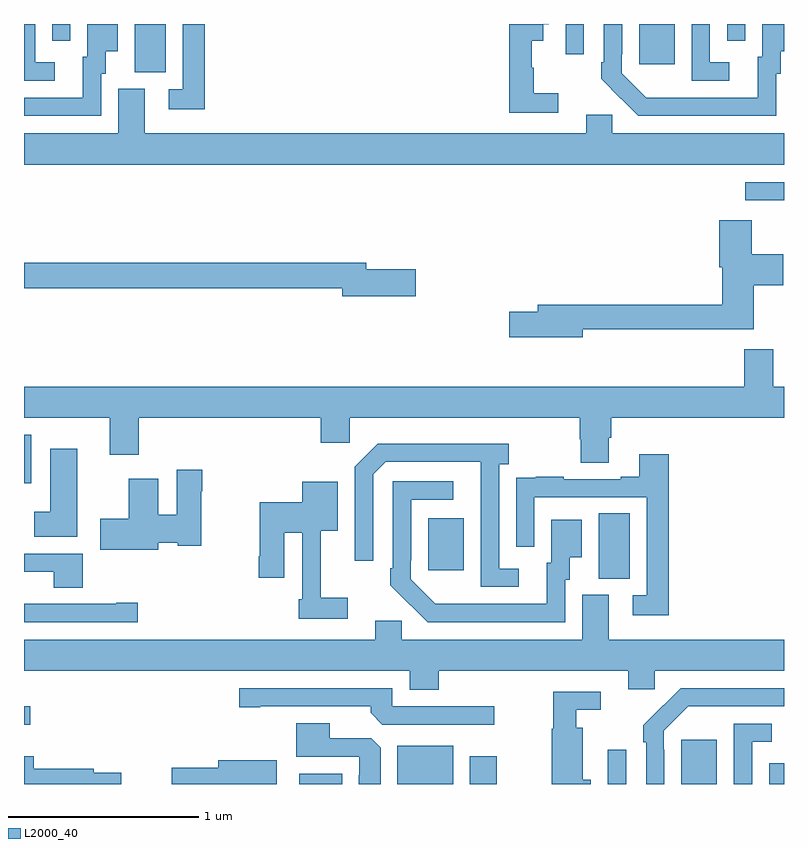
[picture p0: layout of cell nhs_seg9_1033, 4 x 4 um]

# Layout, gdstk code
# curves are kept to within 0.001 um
import gdstk
lib = gdstk.Library(unit=1e-6, precision=1e-09)
def R(c, l, rs):  # rectangles x0, y0, x1, y1
    for r in rs: c.add(gdstk.rectangle(r[:2], r[2:], *l))
def P(c, l, *ps):  # polygons
    for p in ps: c.add(gdstk.Polygon(p, *l))
L2000_40 = (2000, 40)

nhs_seg9_1033 = lib.new_cell('nhs_seg9_1033')
R(nhs_seg9_1033, L2000_40, [(168.449,1186.5,168.676,1186.555), (168.965,1186.5,169.258,1186.702), (169.346,1186.5,169.488,1186.645), (170.073,1186.5,170.169,1186.681), (170.459,1186.5,170.647,1186.732), (170.922,1186.5,171,1186.609), (167,1186.812,167.032,1186.908), (170.024,1187.581,170.188,1187.924), (169.127,1187.625,169.315,1187.899), (167,1188.083,167.038,1188.337), (170.796,1189.572,171,1189.668), (167.582,1190.245,167.746,1190.5), (170.237,1190.289,170.425,1190.5), (169.851,1190.34,169.947,1190.5), (167.148,1190.412,167.244,1190.5), (170.7,1190.412,170.796,1190.5)])
P(nhs_seg9_1033, L2000_40, [(167.951,1190.5),(167.835,1190.5),(167.835,1190.157),(167.763,1190.157),(167.763,1190.052),(167.951,1190.052)],
  [(167.406,1190.238),(167.431,1190.238),(167.431,1190.357),(167.494,1190.357),(167.494,1190.5),(167.333,1190.5),(167.333,1190.328),(167.309,1190.328),(167.309,1190.112),(167,1190.112),(167,1190.016),(167.406,1190.016)],
  [(167.161,1190.298),(167.058,1190.298),(167.058,1190.5),(167,1190.5),(167,1190.202),(167.161,1190.202)],
  [(170.958,1190.238),(170.983,1190.238),(170.983,1190.357),(171,1190.357),(171,1190.5),(170.885,1190.5),(170.885,1190.328),(170.861,1190.328),(170.861,1190.112),(170.274,1190.113),(170.145,1190.241),(170.145,1190.341),(170.148,1190.341),(170.148,1190.5),(170.052,1190.5),(170.052,1190.299),(170.037,1190.299),(170.037,1190.211),(170.234,1190.016),(170.958,1190.016)],
  [(170.713,1190.298),(170.61,1190.298),(170.61,1190.5),(170.514,1190.5),(170.514,1190.202),(170.713,1190.202)],
  [(169.813,1190.135),(169.684,1190.135),(169.684,1190.271),(169.673,1190.271),(169.673,1190.411),(169.732,1190.411),(169.732,1190.498),(169.762,1190.498),(169.762,1190.5),(169.555,1190.5),(169.555,1190.034),(169.813,1190.034)],
  [(171,1189.924),(170.097,1189.924),(170.097,1190.022),(169.958,1190.022),(169.958,1189.924),(167.635,1189.924),(167.635,1190.16),(167.495,1190.16),(167.495,1189.924),(167,1189.924),(167,1189.76),(171,1189.76)],
  [(169.942,1188.894),(170.842,1188.894),(170.842,1189.126),(170.995,1189.126),(170.995,1189.288),(170.83,1189.288),(170.83,1189.468),(170.66,1189.468),(170.66,1189.219),(170.675,1189.219),(170.675,1189.022),(169.703,1189.022),(169.703,1188.986),(169.554,1188.986),(169.554,1188.851),(169.942,1188.851)],
  [(169.063,1189.208),(168.802,1189.208),(168.802,1189.244),(167,1189.244),(167,1189.108),(168.674,1189.108),(168.674,1189.066),(169.063,1189.066)],
  [(167,1188.428),(167.45,1188.428),(167.45,1188.234),(167.603,1188.234),(167.603,1188.428),(168.563,1188.428),(168.563,1188.297),(168.714,1188.297),(168.714,1188.428),(169.925,1188.428),(169.925,1188.315),(169.93,1188.315),(169.93,1188.19),(170.077,1188.19),(170.077,1188.322),(170.09,1188.322),(170.09,1188.428),(171,1188.428),(171,1188.592),(170.944,1188.592),(170.944,1188.787),(170.792,1188.787),(170.792,1188.592),(167,1188.592)],
  [(169.603,1187.634),(169.5,1187.634),(169.5,1188.182),(169.552,1188.182),(169.552,1188.292),(168.862,1188.292),(168.741,1188.171),(168.741,1187.676),(168.837,1187.676),(168.837,1188.129),(168.903,1188.195),(169.403,1188.195),(169.404,1187.538),(169.603,1187.538)],
  [(167.281,1188.265),(167.138,1188.265),(167.138,1187.932),(167.054,1187.932),(167.054,1187.801),(167.281,1187.801)],
  [(170.393,1188.235),(170.237,1188.235),(170.237,1188.118),(170.141,1188.118),(170.141,1188.105),(169.841,1188.105),(169.841,1188.118),(169.693,1188.118),(169.693,1188.111),(169.591,1188.111),(169.591,1188.002),(169.59,1188.002),(169.59,1187.748),(169.686,1187.748),(169.686,1188.009),(170.277,1188.009),(170.277,1187.493),(170.205,1187.493),(170.205,1187.388),(170.393,1187.388)],
  [(167.707,1187.771),(167.808,1187.771),(167.808,1187.753),(167.934,1187.753),(167.934,1188.041),(167.939,1188.041),(167.939,1188.154),(167.804,1188.154),(167.804,1187.918),(167.707,1187.918),(167.707,1188.106),(167.552,1188.106),(167.552,1187.895),(167.4,1187.895),(167.4,1187.732),(167.707,1187.732)],
  [(169.848,1187.574),(169.873,1187.574),(169.873,1187.693),(169.936,1187.693),(169.936,1187.89),(169.775,1187.89),(169.775,1187.664),(169.751,1187.664),(169.751,1187.448),(169.164,1187.449),(169.035,1187.577),(169.035,1187.677),(169.038,1187.677),(169.038,1187.997),(169.258,1187.997),(169.258,1188.093),(168.942,1188.093),(168.942,1187.635),(168.927,1187.635),(168.927,1187.547),(169.124,1187.352),(169.848,1187.352)],
  [(168.703,1187.479),(168.563,1187.479),(168.563,1187.834),(168.652,1187.834),(168.652,1188.091),(168.464,1188.091),(168.464,1187.982),(168.241,1187.982),(168.241,1187.698),(168.236,1187.698),(168.236,1187.586),(168.37,1187.586),(168.37,1187.822),(168.465,1187.822),(168.465,1187.473),(168.445,1187.473),(168.445,1187.37),(168.703,1187.37)],
  [(167.309,1187.712),(167,1187.712),(167,1187.616),(167.156,1187.616),(167.156,1187.533),(167.309,1187.533)],
  [(169.184,1187.096),(170.18,1187.096),(170.18,1186.998),(170.319,1186.998),(170.319,1187.096),(171,1187.096),(171,1187.26),(170.077,1187.26),(170.077,1187.496),(169.937,1187.496),(169.937,1187.26),(168.987,1187.26),(168.987,1187.358),(168.848,1187.358),(168.848,1187.26),(167,1187.26),(167,1187.096),(169.031,1187.096),(169.031,1186.997),(169.184,1186.997)],
  [(167.599,1187.453),(167.486,1187.453),(167.486,1187.448),(167,1187.448),(167,1187.352),(167.599,1187.352)],
  [(170.37,1186.679),(170.367,1186.679),(170.367,1186.779),(170.496,1186.908),(171,1186.908),(171,1187.004),(170.456,1187.004),(170.259,1186.809),(170.259,1186.721),(170.274,1186.721),(170.274,1186.5),(170.37,1186.5)],
  [(169.474,1186.908),(168.939,1186.908),(168.939,1187.004),(168.132,1187.004),(168.132,1186.903),(168.244,1186.903),(168.244,1186.908),(168.824,1186.908),(168.824,1186.874),(168.885,1186.812),(169.474,1186.812)],
  [(169.984,1186.522),(169.942,1186.522),(169.942,1186.795),(169.906,1186.795),(169.906,1186.89),(170.035,1186.89),(170.035,1186.986),(169.785,1186.986),(169.785,1186.791),(169.777,1186.791),(169.777,1186.5),(169.984,1186.5)],
  [(168.877,1186.691),(168.828,1186.74),(168.61,1186.74),(168.61,1186.819),(168.434,1186.819),(168.434,1186.644),(168.765,1186.644),(168.765,1186.547),(168.761,1186.547),(168.761,1186.5),(168.877,1186.5)],
  [(170.832,1186.722),(170.935,1186.722),(170.935,1186.818),(170.736,1186.818),(170.736,1186.5),(170.832,1186.5)],
  [(167.513,1186.56),(167.366,1186.56),(167.366,1186.58),(167.051,1186.58),(167.051,1186.645),(167,1186.645),(167,1186.5),(167.513,1186.5)],
  [(168.331,1186.624),(168.023,1186.624),(168.023,1186.586),(167.778,1186.586),(167.778,1186.5),(168.331,1186.5)])

lib.write_gds('nhs_seg9_1033.gds')
